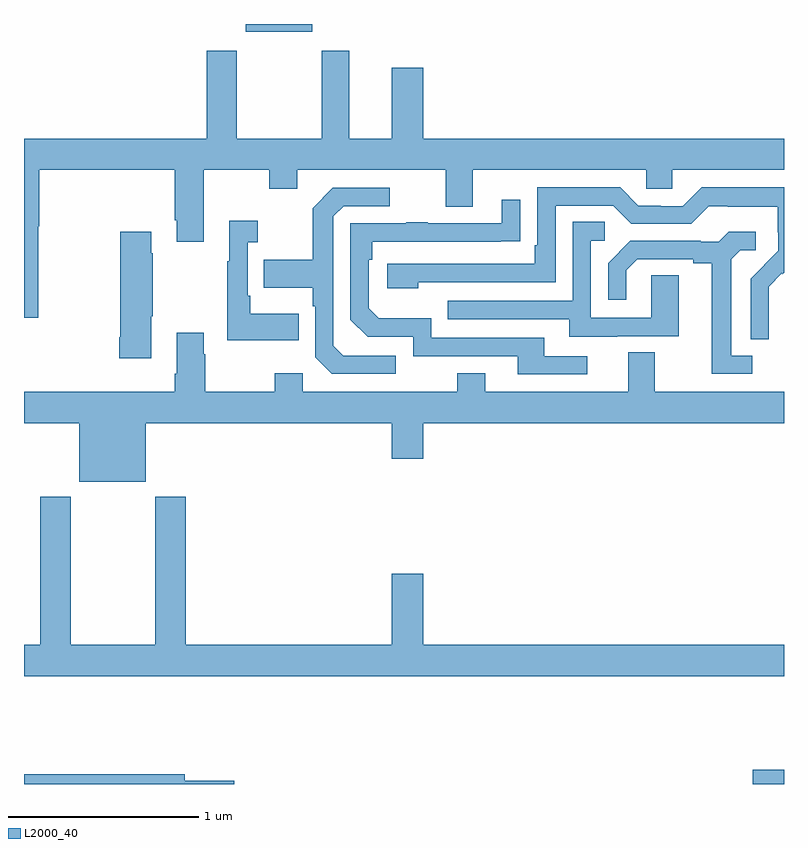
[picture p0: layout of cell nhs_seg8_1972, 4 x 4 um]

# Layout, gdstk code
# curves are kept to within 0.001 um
import gdstk
lib = gdstk.Library(unit=1e-6, precision=1e-09)
def R(c, l, rs):  # rectangles x0, y0, x1, y1
    for r in rs: c.add(gdstk.rectangle(r[:2], r[2:], *l))
def P(c, l, *ps):  # polygons
    for p in ps: c.add(gdstk.Polygon(p, *l))
L2000_40 = (2000, 40)

nhs_seg8_1972 = lib.new_cell('nhs_seg8_1972')
R(nhs_seg8_1972, L2000_40, [(238.836,1147.9,239,1147.976), (236.168,1151.858,236.518,1151.9)])
P(nhs_seg8_1972, L2000_40, [(235.074,1150.836),(235.079,1150.836),(235.079,1151.132),(235.793,1151.132),(235.793,1150.867),(235.805,1150.867),(235.805,1150.755),(235.945,1150.755),(235.945,1151.132),(236.29,1151.132),(236.29,1151.033),(236.437,1151.033),(236.437,1151.132),(237.221,1151.132),(237.221,1150.938),(237.361,1150.938),(237.361,1151.132),(238.275,1151.132),(238.275,1151.034),(238.413,1151.034),(238.413,1151.132),(239,1151.132),(239,1151.296),(237.1,1151.296),(237.1,1151.671),(236.936,1151.671),(236.936,1151.296),(236.713,1151.296),(236.713,1151.758),(236.566,1151.758),(236.566,1151.296),(236.121,1151.296),(236.121,1151.758),(235.961,1151.758),(235.961,1151.296),(235,1151.296),(235,1150.353),(235.074,1150.353)],
  [(238.92,1150.394),(238.919,1150.517),(238.989,1150.587),(238.992,1150.584),(239,1150.592),(239,1151.041),(238.567,1151.041),(238.467,1150.941),(238.352,1150.941),(238.352,1150.944),(238.233,1150.944),(238.137,1151.04),(237.702,1151.04),(237.702,1150.735),(237.689,1150.735),(237.689,1150.638),(236.913,1150.638),(236.913,1150.508),(237.074,1150.508),(237.074,1150.542),(237.798,1150.542),(237.798,1150.944),(238.101,1150.944),(238.197,1150.848),(238.512,1150.848),(238.605,1150.941),(238.705,1150.941),(238.705,1150.937),(238.968,1150.937),(238.968,1150.803),(238.97,1150.803),(238.97,1150.706),(238.824,1150.558),(238.824,1150.24),(238.92,1150.24)],
  [(236.956,1150.155),(236.679,1150.155),(236.628,1150.206),(236.628,1150.887),(236.682,1150.941),(236.926,1150.941),(236.926,1151.037),(236.625,1151.037),(236.52,1150.931),(236.52,1150.659),(236.263,1150.659),(236.263,1150.511),(236.52,1150.511),(236.52,1150.415),(236.532,1150.415),(236.532,1150.146),(236.619,1150.059),(236.956,1150.059)],
  [(237.964,1150.152),(237.739,1150.152),(237.739,1150.248),(237.144,1150.248),(237.144,1150.351),(236.867,1150.351),(236.814,1150.404),(236.814,1150.658),(236.834,1150.658),(236.834,1150.755),(237.611,1150.756),(237.611,1150.975),(237.515,1150.975),(237.515,1150.851),(237.125,1150.851),(237.125,1150.856),(237.013,1150.856),(237.013,1150.851),(236.718,1150.851),(236.718,1150.344),(236.808,1150.254),(237.048,1150.254),(237.048,1150.152),(237.599,1150.152),(237.599,1150.056),(237.964,1150.056)],
  [(236.447,1150.375),(236.191,1150.375),(236.191,1150.471),(236.178,1150.471),(236.178,1150.751),(236.23,1150.751),(236.23,1150.864),(236.081,1150.864),(236.081,1150.651),(236.07,1150.651),(236.07,1150.235),(236.447,1150.235)],
  [(238.123,1150.257),(238.447,1150.257),(238.447,1150.577),(238.302,1150.577),(238.302,1150.353),(237.984,1150.353),(237.984,1150.758),(238.057,1150.758),(238.057,1150.859),(237.888,1150.859),(237.888,1150.443),(237.229,1150.443),(237.229,1150.347),(237.869,1150.347),(237.869,1150.253),(238.123,1150.253)],
  [(235.669,1150.363),(235.677,1150.363),(235.677,1150.694),(235.669,1150.694),(235.669,1150.807),(235.507,1150.807),(235.507,1150.252),(235.502,1150.252),(235.502,1150.14),(235.669,1150.14)],
  [(238.834,1150.155),(238.723,1150.155),(238.723,1150.663),(238.77,1150.71),(238.852,1150.71),(238.852,1150.807),(238.708,1150.807),(238.656,1150.755),(238.562,1150.755),(238.562,1150.758),(238.19,1150.758),(238.074,1150.642),(238.074,1150.449),(238.171,1150.449),(238.171,1150.605),(238.228,1150.662),(238.523,1150.662),(238.523,1150.64),(238.619,1150.64),(238.619,1150.059),(238.834,1150.059)],
  [(235.642,1149.8),(236.936,1149.8),(236.936,1149.612),(237.1,1149.612),(237.1,1149.8),(239,1149.8),(239,1149.964),(238.321,1149.964),(238.321,1150.172),(238.181,1150.172),(238.181,1149.964),(237.427,1149.964),(237.427,1150.063),(237.28,1150.063),(237.28,1149.964),(236.466,1149.964),(236.466,1150.063),(236.32,1150.063),(236.32,1149.964),(235.953,1149.964),(235.953,1150.163),(235.945,1150.163),(235.945,1150.276),(235.805,1150.276),(235.805,1150.06),(235.793,1150.06),(235.793,1149.964),(235,1149.964),(235,1149.8),(235.292,1149.8),(235.292,1149.491),(235.642,1149.491)],
  [(239,1148.632),(237.1,1148.632),(237.1,1149.007),(236.936,1149.007),(236.936,1148.632),(235.85,1148.632),(235.85,1149.412),(235.69,1149.412),(235.69,1148.632),(235.245,1148.632),(235.245,1149.412),(235.085,1149.412),(235.085,1148.632),(235,1148.632),(235,1148.468),(239,1148.468)],
  [(236.107,1147.916),(235.846,1147.916),(235.846,1147.952),(235,1147.952),(235,1147.9),(236.107,1147.9)])

lib.write_gds('nhs_seg8_1972.gds')
